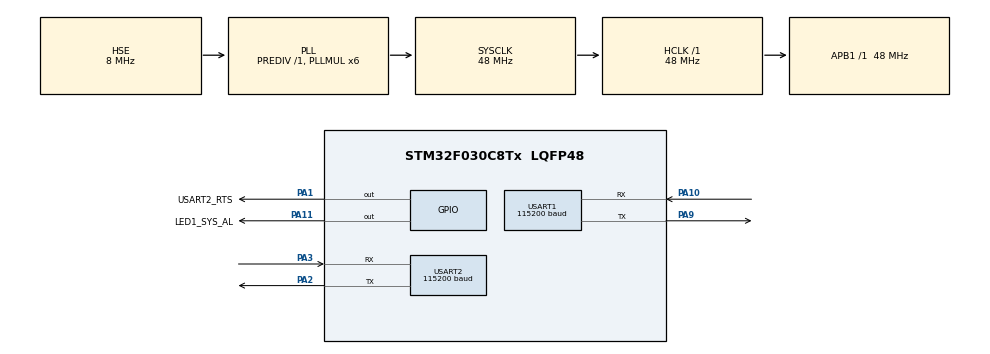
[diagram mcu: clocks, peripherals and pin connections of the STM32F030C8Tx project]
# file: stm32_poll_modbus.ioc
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Mcu.Family=STM32F0
Mcu.Name=STM32F030C8Tx
Mcu.Package=LQFP48
NVIC.USART1_IRQn=true\:0\:0\:false\:false\:true\:true\:true\:true
PA1.GPIO_Label=USART2_RTS
PA1.Signal=GPIO_Output
PA10.Mode=Asynchronous
PA10.Signal=USART1_RX
PA11.GPIO_Label=LED1_SYS_AL
PA11.Signal=GPIO_Output
PA13.Mode=Serial_Wire
PA13.Signal=SYS_SWDIO
PA14.Mode=Serial_Wire
PA14.Signal=SYS_SWCLK
PA2.Mode=Asynchronous
PA2.Signal=USART2_TX
PA3.Mode=Asynchronous
PA3.Signal=USART2_RX
PA9.Mode=Asynchronous
PA9.Signal=USART1_TX
PF0-OSC_IN.Mode=HSE-External-Oscillator
PF0-OSC_IN.Signal=RCC_OSC_IN
PF1-OSC_OUT.Mode=HSE-External-Oscillator
PF1-OSC_OUT.Signal=RCC_OSC_OUT
ProjectManager.HeapSize=0x200
ProjectManager.StackSize=0x400
ProjectManager.TargetToolchain=Makefile
RCC.AHBFreq_Value=48000000
RCC.APB1Freq_Value=48000000
RCC.APB1TimFreq_Value=48000000
RCC.HCLKFreq_Value=48000000
RCC.PLLMUL=RCC_PLL_MUL6
RCC.PLLSourceVirtual=RCC_PLLSOURCE_HSE
RCC.SYSCLKFreq_VALUE=48000000
RCC.SYSCLKSource=RCC_SYSCLKSOURCE_PLLCLK
USART1.BaudRate=115200
USART1.VirtualMode-Asynchronous=VM_ASYNC
USART2.BaudRate=115200
USART2.DMADisableonRxErrorParam=ADVFEATURE_DMA_DISABLEONRXERROR
USART2.OverrunDisableParam=ADVFEATURE_OVERRUN_DISABLE
USART2.VirtualMode-Asynchronous=VM_ASYNC
board=custom

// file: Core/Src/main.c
/* USER CODE BEGIN Header */
/**
 ******************************************************************************
 * @file           : main.c
 * @brief          : Main program body
 ******************************************************************************
 * @attention
 *
 * Copyright (c) 2025 STMicroelectronics.
 * All rights reserved.
 *
 * This software is licensed under terms that can be found in the LICENSE file
 * in the root directory of this software component.
 * If no LICENSE file comes with this software, it is provided AS-IS.
 *
 ******************************************************************************
 */
/* USER CODE END Header */
#include "main.h"
#include "usart.h"
#include "gpio.h"

/* USER CODE BEGIN Includes */
#define NMBS_DEBUG 1
#include "..\..\..\..\nanomodbus.h"
#ifdef NMBS_DEBUG
#include <errno.h>
#include <sys/unistd.h> // STDOUT_FILENO, STDERR_FILENO
#endif

/* USER CODE END Includes */

/* USER CODE BEGIN PTD */

extern UART_HandleTypeDef huart2;

/* USER CODE END PTD */

/* USER CODE BEGIN PD */

#define RTU_SERVER_ADDRESS 84

//invert the red LED
#define RED_TOGGLE()    HAL_GPIO_TogglePin(LED1_SYS_AL_GPIO_Port, LED1_SYS_AL_Pin);

#define SetRS485Receive() HAL_GPIO_WritePin(USART2_RTS_GPIO_Port, USART2_RTS_Pin, GPIO_PIN_RESET)
#define SetRS485Transmit() HAL_GPIO_WritePin(USART2_RTS_GPIO_Port, USART2_RTS_Pin, GPIO_PIN_SET)
#define ToggleRS485Transmit() HAL_GPIO_TogglePin(USART2_RTS_GPIO_Port, USART2_RTS_Pin)

/* USER CODE END PD */

/* USER CODE BEGIN PV */
uint16_t Speed = 9600;

/* USER CODE END PV */

void SystemClock_Config(void);

/* USER CODE BEGIN 0 */

int32_t read_serial(uint8_t *buf, uint16_t count, int32_t byte_timeout_ms,
		void *arg) {
	uint16_t received = 0;
	//printf("rs count:%d time:%d ", count,byte_timeout_ms);
	do {
		switch (HAL_UART_Receive(&huart2, buf, 1, byte_timeout_ms)) {
		case HAL_TIMEOUT:
			return received;
			break;
		case HAL_ERROR:
		case HAL_BUSY:
		default:
			return -1;
			break;
		case HAL_OK:
			//printf("%ld %02x\n",HAL_GetTick(),*buf);
			buf++;
			received++;

		}
	} while (received < count);
	return count;
}

int32_t write_serial(const uint8_t *buf, uint16_t count,
		int32_t byte_timeout_ms, void *arg) {
	SetRS485Transmit();
	if (HAL_UART_Transmit(&huart2, buf, count, byte_timeout_ms * count)
			!= HAL_OK) {
		SetRS485Receive();
		return -1;
	}
	SetRS485Receive();
	return (count);
}

void onError(nmbs_error err) {
	printf("error: %d\n", err);
	exit(0);
}
uint16_t my_crc_calc(const uint8_t *data, uint32_t length, void *arg) {
	uint16_t crc = 0xFFFF;
	for (uint32_t i = 0; i < length; i++) {
		crc ^= (uint16_t) data[i];
		for (int j = 8; j != 0; j--) {
			if ((crc & 0x0001) != 0) {
				crc >>= 1;
				crc ^= 0xA001;
			} else
				crc >>= 1;
		}
	}
	return (uint16_t) (crc << 8) | (uint16_t) (crc >> 8);
}

#ifdef NMBS_DEBUG
uint8_t debug_buffer[4096];
uint16_t pos_debug = 0;

int _write(int file, char *data, int len) {
	if ((file != STDOUT_FILENO) && (file != STDERR_FILENO)) {
		errno = EBADF;
		return -1;
	}
	//HAL_UART_Transmit(&huart1, (uint8_t*) data, (uint16_t) len, 0xFFFF);
	//HAL_UART_Transmit_IT(&huart1, (uint8_t*) data, (uint16_t) len);
	strncpy(&debug_buffer[pos_debug], data, len);
	pos_debug += len;
	return len;
}
void flush_debug() {
	HAL_UART_Transmit_IT(&huart1, debug_buffer, pos_debug);
	pos_debug = 0;
}
#endif

/* USER CODE END 0 */

int main(void) {

	/* MCU Configuration--------------------------------------------------------*/

	/* Reset of all peripherals, Initializes the Flash interface and the Systick. */
	HAL_Init();

	/* Configure the system clock */
	SystemClock_Config();

	/* Initialize all configured peripherals */
	MX_GPIO_Init();
	MX_USART2_UART_Init();
	MX_USART1_UART_Init();
	/* USER CODE BEGIN 2 */
	uint16_t reg = 110; //number holding register

#ifdef NMBS_DEBUG
	printf("Begin read holding register %d\n", reg);
	printf("Address: %d\n", RTU_SERVER_ADDRESS);
	printf("Speed:%d\n", Speed);
#endif
	nmbs_platform_conf platform_conf;
	nmbs_platform_conf_create(&platform_conf);
	platform_conf.transport = NMBS_TRANSPORT_RTU;
	platform_conf.read = read_serial;
	platform_conf.write = write_serial;
	platform_conf.crc_calc = my_crc_calc;

	nmbs_t nmbs;
	nmbs_error err = nmbs_client_create(&nmbs, &platform_conf);
	if (err != NMBS_ERROR_NONE)
		onError(err);

	nmbs_set_read_timeout(&nmbs, 1000);
	//count timeout 3.5 for modbus = 12 bits*3.5
	nmbs_set_byte_timeout(&nmbs, 12 * 3.5 * 1000 / Speed + 1);

	nmbs_set_destination_rtu_address(&nmbs, RTU_SERVER_ADDRESS);
#ifdef NMBS_DEBUG
	flush_debug();
	HAL_Delay(500);
#endif
	/* USER CODE END 2 */

	/* Infinite loop */
	while (1) {

		/* USER CODE BEGIN 3 */
		RED_TOGGLE();

		uint16_t r_regs[2];
		err = nmbs_read_holding_registers(&nmbs, reg, 1, r_regs);
		if (err != NMBS_ERROR_NONE) {
			onError(err);
		}
#ifdef NMBS_DEBUG
		printf("register %d is set to: %d\n", reg, r_regs[0]);
		flush_debug();
#endif
		HAL_Delay(500);

	}
	/* USER CODE END 3 */
}

void SystemClock_Config(void) {
	RCC_OscInitTypeDef RCC_OscInitStruct = { 0 };
	RCC_ClkInitTypeDef RCC_ClkInitStruct = { 0 };
	RCC_PeriphCLKInitTypeDef PeriphClkInit = { 0 };

	/** Initializes the RCC Oscillators according to the specified parameters
	 * in the RCC_OscInitTypeDef structure.
	 */
	RCC_OscInitStruct.OscillatorType = RCC_OSCILLATORTYPE_HSE;
	RCC_OscInitStruct.HSEState = RCC_HSE_ON;
	RCC_OscInitStruct.PLL.PLLState = RCC_PLL_ON;
	RCC_OscInitStruct.PLL.PLLSource = RCC_PLLSOURCE_HSE;
	RCC_OscInitStruct.PLL.PLLMUL = RCC_PLL_MUL6;
	RCC_OscInitStruct.PLL.PREDIV = RCC_PREDIV_DIV1;
	if (HAL_RCC_OscConfig(&RCC_OscInitStruct) != HAL_OK) {
		Error_Handler();
	}

	/** Initializes the CPU, AHB and APB buses clocks
	 */
	RCC_ClkInitStruct.ClockType = RCC_CLOCKTYPE_HCLK | RCC_CLOCKTYPE_SYSCLK
			| RCC_CLOCKTYPE_PCLK1;
	RCC_ClkInitStruct.SYSCLKSource = RCC_SYSCLKSOURCE_PLLCLK;
	RCC_ClkInitStruct.AHBCLKDivider = RCC_SYSCLK_DIV1;
	RCC_ClkInitStruct.APB1CLKDivider = RCC_HCLK_DIV1;

	if (HAL_RCC_ClockConfig(&RCC_ClkInitStruct, FLASH_LATENCY_1) != HAL_OK) {
		Error_Handler();
	}
	PeriphClkInit.PeriphClockSelection = RCC_PERIPHCLK_USART1;
	PeriphClkInit.Usart1ClockSelection = RCC_USART1CLKSOURCE_PCLK1;
	if (HAL_RCCEx_PeriphCLKConfig(&PeriphClkInit) != HAL_OK) {
		Error_Handler();
	}
}

void Error_Handler(void) {
	__disable_irq();
	while (1) {
	}
}
